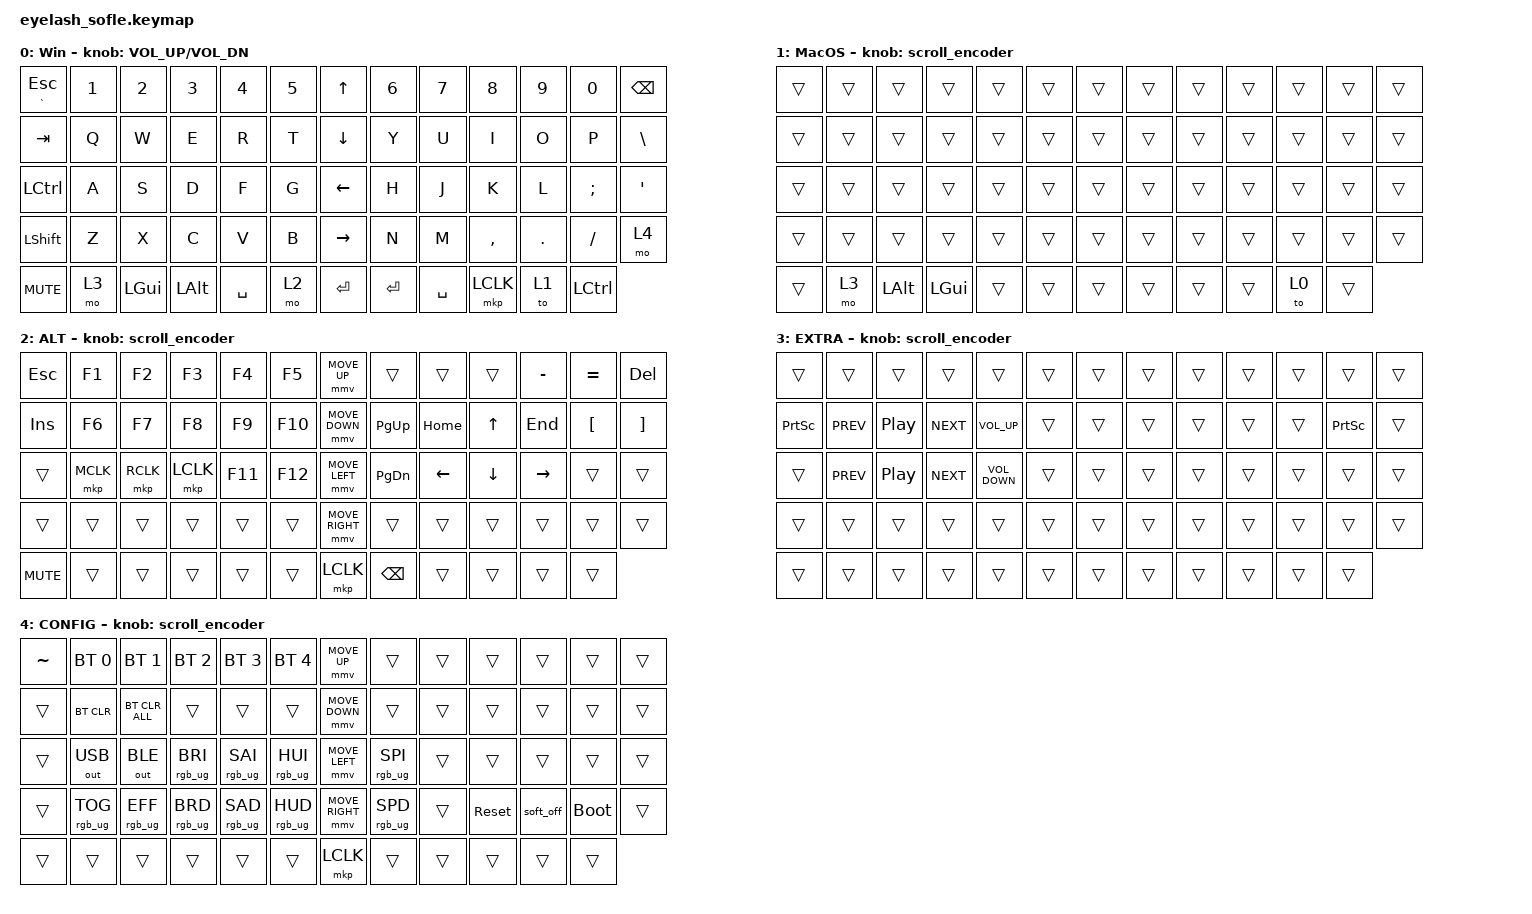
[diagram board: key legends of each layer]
#include <dt-bindings/zmk/mouse.h>
#include <input/processors.dtsi>
#include <behaviors.dtsi>
#include <dt-bindings/zmk/bt.h>
#include <dt-bindings/zmk/keys.h>
#include <dt-bindings/zmk/outputs.h>
#include <dt-bindings/zmk/pointing.h>
#include <dt-bindings/zmk/rgb.h>

/*

   &mmv_input_listener {
       input-processors = <&zip_xy_scaler 2 1>;
   };

   &msc_input_listener {
       input-processors = <&zip_xy_scaler 2 1>;
   };

 */

#define ZMK_MOUSE_DEFAULT_MOVE_VAL 1200  // 600
#define ZMK_MOUSE_DEFAULT_SCRL_VAL 20    // 10

/ {
    behaviors {
        mmv {
            acceleration-exponent = <1>;      // 1
            time-to-max-speed-ms = <900>;    // 40
            delay-ms = <0>;                   // 0
        };

        msc {
            acceleration-exponent = <1>;      // 0
            time-to-max-speed-ms = <400>;      // 500
            delay-ms = <0>;                   //   10
        };
    };

    scroll_encoder: scroll_encoder {
        compatible = "zmk,behavior-sensor-rotate";
        #sensor-binding-cells = <0>;
        bindings = <&msc SCRL_DOWN>, <&msc SCRL_UP>;

        tap-ms = <30>;
    };

    keymap {
        compatible = "zmk,keymap";

        Windows {
            bindings = <
&mt GRAVE ESC  &kp N1  &kp N2        &kp N3        &kp N4     &kp N5    &kp UP_ARROW     &kp N6     &kp N7     &kp N8     &kp N9   &kp N0            &kp BACKSPACE
&kp TAB        &kp Q   &kp W         &kp E         &kp R      &kp T     &kp DOWN_ARROW   &kp Y      &kp U      &kp I      &kp O    &kp P             &kp BSLH
&kp LCTRL      &kp A   &kp S         &kp D         &kp F      &kp G     &kp LEFT_ARROW   &kp H      &kp J      &kp K      &kp L    &kp SEMI          &kp APOS
&kp LSHFT      &kp Z   &kp X         &kp C         &kp V      &kp B     &kp RIGHT_ARROW  &kp N      &kp M      &kp COMMA  &kp DOT  &kp FSLH          &mo 4
&kp C_MUTE     &mo 3   &kp LEFT_GUI  &kp LEFT_ALT  &kp SPACE  &mo 2     &kp ENTER        &kp ENTER  &kp SPACE  &mkp LCLK  &to 1    &kp LEFT_CONTROL
            >;

            sensor-bindings = <&inc_dec_kp C_VOLUME_UP C_VOL_DN>;
            display-name = "Win";
            label = "MAIN";
        };

        Mac {
            bindings = <
&trans  &trans  &trans        &trans        &trans  &trans    &trans  &trans  &trans  &trans  &trans  &trans  &trans
&trans  &trans  &trans        &trans        &trans  &trans    &trans  &trans  &trans  &trans  &trans  &trans  &trans
&trans  &trans  &trans        &trans        &trans  &trans    &trans  &trans  &trans  &trans  &trans  &trans  &trans
&trans  &trans  &trans        &trans        &trans  &trans    &trans  &trans  &trans  &trans  &trans  &trans  &trans
&trans  &mo 3   &kp LEFT_ALT  &kp LEFT_GUI  &trans  &trans    &trans  &trans  &trans  &trans  &to 0   &trans
            >;

            sensor-bindings = <&scroll_encoder>;
            label = "MacOS";
        };

        ALT {
            bindings = <
&kp ESC     &kp F1     &kp F2     &kp F3     &kp F4   &kp F5     &mmv MOVE_UP     &trans         &trans    &trans    &kp MINUS  &kp EQUAL         &kp DELETE
&kp INSERT  &kp F6     &kp F7     &kp F8     &kp F9   &kp F10    &mmv MOVE_DOWN   &kp PG_UP      &kp HOME  &kp UP    &kp END    &kp LEFT_BRACKET  &kp RIGHT_BRACKET
&trans      &mkp MCLK  &mkp RCLK  &mkp LCLK  &kp F11  &kp F12    &mmv MOVE_LEFT   &kp PG_DN      &kp LEFT  &kp DOWN  &kp RIGHT  &trans            &trans
&trans      &trans     &trans     &trans     &trans   &trans     &mmv MOVE_RIGHT  &trans         &trans    &trans    &trans     &trans            &trans
&kp C_MUTE  &trans     &trans     &trans     &trans   &trans     &mkp LCLK        &kp BACKSPACE  &trans    &trans    &trans     &trans
            >;

            display-name = "ALT";
            sensor-bindings = <&scroll_encoder>;
            label = "ALT";
        };

        EXTRA {
            bindings = <
&trans           &trans      &trans            &trans      &trans             &trans    &trans  &trans  &trans  &trans  &trans  &trans           &trans
&kp PRINTSCREEN  &kp C_PREV  &kp C_PLAY_PAUSE  &kp C_NEXT  &kp C_VOLUME_UP    &trans    &trans  &trans  &trans  &trans  &trans  &kp PRINTSCREEN  &trans
&trans           &kp C_PREV  &kp C_PLAY_PAUSE  &kp C_NEXT  &kp C_VOLUME_DOWN  &trans    &trans  &trans  &trans  &trans  &trans  &trans           &trans
&trans           &trans      &trans            &trans      &trans             &trans    &trans  &trans  &trans  &trans  &trans  &trans           &trans
&trans           &trans      &trans            &trans      &trans             &trans    &trans  &trans  &trans  &trans  &trans  &trans
            >;

            sensor-bindings = <&scroll_encoder>;
            label = "EXTRA";
        };

        CONFIG {
            bindings = <
&kp TILDE  &bt BT_SEL 0     &bt BT_SEL 1     &bt BT_SEL 2     &bt BT_SEL 3     &bt BT_SEL 4       &mmv MOVE_UP     &trans           &trans  &trans      &trans     &trans       &trans
&trans     &bt BT_CLR       &bt BT_CLR_ALL   &trans           &trans           &trans             &mmv MOVE_DOWN   &trans           &trans  &trans      &trans     &trans       &trans
&trans     &out OUT_USB     &out OUT_BLE     &rgb_ug RGB_BRI  &rgb_ug RGB_SAI  &rgb_ug RGB_HUI    &mmv MOVE_LEFT   &rgb_ug RGB_SPI  &trans  &trans      &trans     &trans       &trans
&trans     &rgb_ug RGB_TOG  &rgb_ug RGB_EFF  &rgb_ug RGB_BRD  &rgb_ug RGB_SAD  &rgb_ug RGB_HUD    &mmv MOVE_RIGHT  &rgb_ug RGB_SPD  &trans  &sys_reset  &soft_off  &bootloader  &trans
&trans     &trans           &trans           &trans           &trans           &trans             &mkp LCLK        &trans           &trans  &trans      &trans     &trans
            >;

            sensor-bindings = <&scroll_encoder>;
            label = "CONFIG";
        };
    };
};
